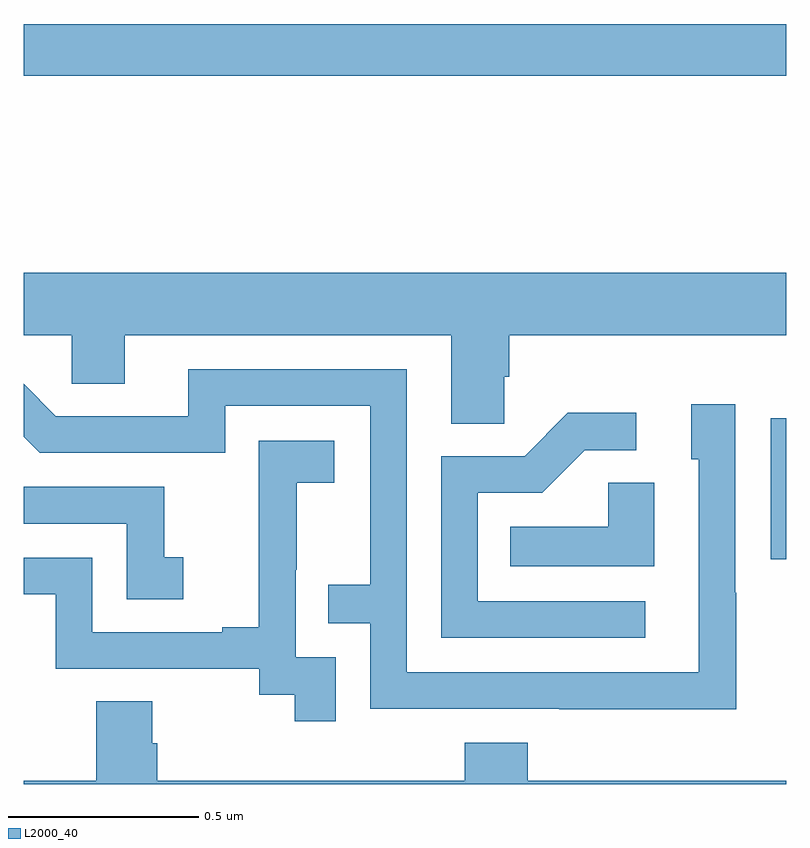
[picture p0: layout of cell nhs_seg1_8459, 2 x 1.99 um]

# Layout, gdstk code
import gdstk
lib = gdstk.Library(unit=1e-6, precision=1e-09)
def R(c, l, rs):  # rectangles x0, y0, x1, y1
    for r in rs: c.add(gdstk.rectangle(r[:2], r[2:], *l))
def P(c, l, *ps):  # polygons
    for p in ps: c.add(gdstk.Polygon(p, *l))
L2000_40 = (2000, 40)

nhs_seg1_8459 = lib.new_cell('nhs_seg1_8459')
R(nhs_seg1_8459, L2000_40, [(217.959,573.789,218,574.158), (216,575.056,218,575.192)])
P(nhs_seg1_8459, L2000_40, [(217.26,574.267),(217.274,574.267),(217.274,574.376),(218,574.376),(218,574.54),(216,574.54),(216,574.376),(216.126,574.376),(216.126,574.249),(216.265,574.249),(216.265,574.376),(217.121,574.376),(217.121,574.144),(217.26,574.144)],
  [(217.869,573.701),(217.866,573.701),(217.866,574.195),(217.751,574.195),(217.751,574.05),(217.77,574.05),(217.77,573.492),(217.005,573.492),(217.005,574.287),(216.431,574.287),(216.431,574.164),(216.084,574.164),(216,574.248),(216,574.11),(216.042,574.068),(216.528,574.068),(216.528,574.191),(216.909,574.191),(216.909,573.722),(216.799,573.722),(216.799,573.621),(216.909,573.621),(216.909,573.396),(217.405,573.396),(217.405,573.395),(217.869,573.395)],
  [(217.63,573.678),(217.191,573.678),(217.191,573.963),(217.36,573.963),(217.471,574.074),(217.606,574.074),(217.606,574.172),(217.427,574.172),(217.314,574.059),(217.095,574.059),(217.095,573.582),(217.63,573.582)],
  [(216.819,573.531),(216.714,573.531),(216.714,573.761),(216.716,573.761),(216.716,573.989),(216.814,573.989),(216.814,574.099),(216.616,574.099),(216.616,573.893),(216.617,573.893),(216.617,573.61),(216.521,573.61),(216.521,573.597),(216.18,573.597),(216.18,573.792),(216,573.792),(216,573.696),(216.084,573.696),(216.084,573.501),(216.618,573.501),(216.618,573.433),(216.711,573.433),(216.711,573.363),(216.819,573.363)],
  [(217.654,573.989),(217.533,573.989),(217.533,573.874),(217.276,573.874),(217.276,573.77),(217.654,573.77)],
  [(216.418,573.793),(216.369,573.793),(216.369,573.978),(216,573.978),(216,573.882),(216.27,573.882),(216.27,573.684),(216.418,573.684)],
  [(216.19,573.416),(216.19,573.208),(216,573.208),(216,573.199),(218,573.199),(218,573.208),(217.322,573.208),(217.322,573.307),(217.157,573.307),(217.157,573.208),(216.35,573.208),(216.35,573.306),(216.337,573.306),(216.337,573.416)])

lib.write_gds('nhs_seg1_8459.gds')
